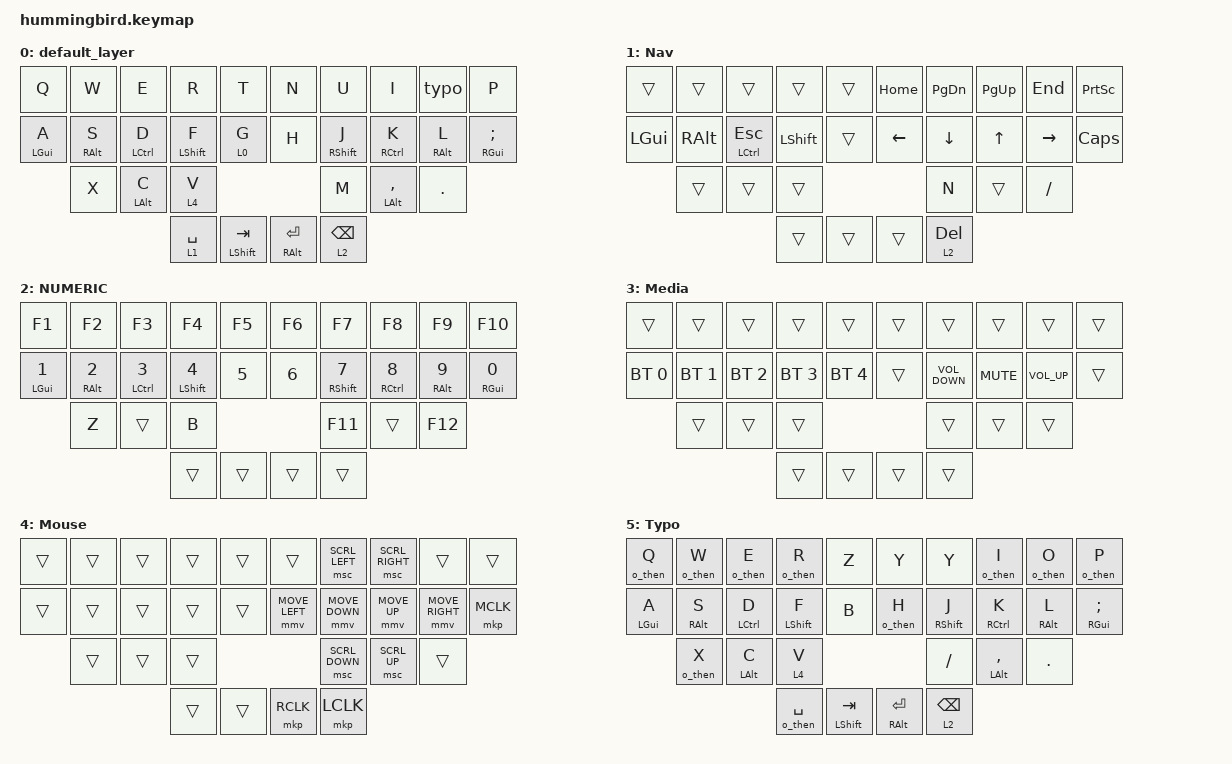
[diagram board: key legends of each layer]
/*
 * Copyright (c) 2022 The ZMK Contributors
 *
 * SPDX-License-Identifier: MIT
 */

#include <behaviors.dtsi>
#include <dt-bindings/zmk/bt.h>
#include <dt-bindings/zmk/keys.h>
#include <dt-bindings/zmk/pointing.h>

#define DEF_L 0
#define NAV_L 1
#define NUM_L 2
#define SYM_L 3
#define ZMK_POINTING_DEFAULT_MOVE_VAL 800  // default: 600

// Using layer taps on thumbs, having quick tap as well helps w/ repeating space/backspace

&sl { ignore-modifiers; };

/ {
    behaviors {
        hml: hml {
            compatible = "zmk,behavior-hold-tap";
            flavor = "balanced";
            tapping-term-ms = <280>;
            quick-tap-ms = <175>;
            #binding-cells = <2>;
            bindings = <&kp>, <&kp>;

            hold-trigger-key-positions = <5 6 7 8 9 19 18 17 16 15 23 24 25 29 28 27 26>;
            require-prior-idle-ms = <200>; // 150 before
            hold-trigger-on-release;
        };

        hmr: hmr {
            compatible = "zmk,behavior-hold-tap";
            flavor = "balanced";
            tapping-term-ms = <280>;
            quick-tap-ms = <175>;
            #binding-cells = <2>;
            bindings = <&kp>, <&kp>;

            hold-trigger-key-positions = <4 3 2 1 0 10 11 12 13 14 22 21 20 26 27 28 29>;
            require-prior-idle-ms = <200>; // 150 before
            hold-trigger-on-release;
        };

        hrl: hrl {
            compatible = "zmk,behavior-hold-tap";
            flavor = "balanced";
            tapping-term-ms = <280>;
            quick-tap-ms = <175>;
            #binding-cells = <2>;
            bindings = <&mo>, <&kp>;

            hold-trigger-key-positions = <5 6 7 8 9 19 18 17 16 15 23 24 25 29 28 27 26>;
            require-prior-idle-ms = <200>; // 150 before
            hold-trigger-on-release;
            label = "HRL";
        };

        f_hml: f_hml {
            compatible = "zmk,behavior-hold-tap";
            flavor = "balanced";
            tapping-term-ms = <200>;
            quick-tap-ms = <150>;
            #binding-cells = <2>;
            bindings = <&kp>, <&kp>;

            hold-trigger-key-positions = <5 6 7 8 9 19 18 17 16 15 23 24 25 29 28 27 26>;
            require-prior-idle-ms = <100>;
            hold-trigger-on-release;
            label = "F_HML";
        };

        f_hmr: f_hmr {
            compatible = "zmk,behavior-hold-tap";
            flavor = "balanced";
            tapping-term-ms = <200>;
            quick-tap-ms = <150>;
            #binding-cells = <2>;
            bindings = <&kp>, <&kp>;

            hold-trigger-key-positions = <4 3 2 1 0 10 11 12 13 14 22 21 20 26 27 28 29>;
            require-prior-idle-ms = <100>;
            hold-trigger-on-release;
            label = "F_HMR";
        };

        typo: typo {
            compatible = "zmk,behavior-mod-morph";
            #binding-cells = <0>;
            bindings = <&sl 5>, <&kp O>;

            mods = <(MOD_LSFT|MOD_RSFT)>;
            keep-mods = <(MOD_LSFT|MOD_RSFT)>;
        };

        no_shift_o: no_shift_o {
            compatible = "zmk,behavior-mod-morph";
            #binding-cells = <0>;
            bindings = <&kp O>, <&kp O>;

            mods = <(MOD_LSFT|MOD_RSFT)>;
            keep-mods = <0>;
        };

        // Typo layer: hold-tap variants (hold=mod, tap=o_letter — toujours minuscule, Shift sans effet)

        hml_ot: hml_ot {
            compatible = "zmk,behavior-hold-tap";
            flavor = "balanced";
            tapping-term-ms = <280>;
            quick-tap-ms = <175>;
            #binding-cells = <2>;
            bindings = <&kp>, <&o_then>;

            hold-trigger-key-positions = <5 6 7 8 9 19 18 17 16 15 23 24 25 29 28 27 26>;
            require-prior-idle-ms = <200>;
            hold-trigger-on-release;
        };

        f_hml_ot: f_hml_ot {
            compatible = "zmk,behavior-hold-tap";
            flavor = "balanced";
            tapping-term-ms = <200>;
            quick-tap-ms = <150>;
            #binding-cells = <2>;
            bindings = <&kp>, <&o_then>;

            hold-trigger-key-positions = <5 6 7 8 9 19 18 17 16 15 23 24 25 29 28 27 26>;
            require-prior-idle-ms = <100>;
            hold-trigger-on-release;
        };

        hmr_ot: hmr_ot {
            compatible = "zmk,behavior-hold-tap";
            flavor = "balanced";
            tapping-term-ms = <280>;
            quick-tap-ms = <175>;
            #binding-cells = <2>;
            bindings = <&kp>, <&o_then>;

            hold-trigger-key-positions = <4 3 2 1 0 10 11 12 13 14 22 21 20 26 27 28 29>;
            require-prior-idle-ms = <200>;
            hold-trigger-on-release;
        };

        f_hmr_ot: f_hmr_ot {
            compatible = "zmk,behavior-hold-tap";
            flavor = "balanced";
            tapping-term-ms = <200>;
            quick-tap-ms = <150>;
            #binding-cells = <2>;
            bindings = <&kp>, <&o_then>;

            hold-trigger-key-positions = <4 3 2 1 0 10 11 12 13 14 22 21 20 26 27 28 29>;
            require-prior-idle-ms = <100>;
            hold-trigger-on-release;
        };

        hrl_ot: hrl_ot {
            compatible = "zmk,behavior-hold-tap";
            flavor = "balanced";
            tapping-term-ms = <280>;
            quick-tap-ms = <175>;
            #binding-cells = <2>;
            bindings = <&mo>, <&o_then>;

            hold-trigger-key-positions = <5 6 7 8 9 19 18 17 16 15 23 24 25 29 28 27 26>;
            require-prior-idle-ms = <200>;
            hold-trigger-on-release;
        };
    };

    combos {
        compatible = "zmk,combos";

        cb_z {
            bindings = <&kp Z>;
            key-positions = <11 20>;
        };

        cb_b {
            bindings = <&kp B>;
            key-positions = <13 22>;
        };

        cb_dot {
            bindings = <&kp N>;
            key-positions = <16 23>;
        };

        cb_k {
            bindings = <&kp SLASH>;
            key-positions = <18 25>;
        };

        cz {
            bindings = <&kp Z>;
            key-positions = <20 21>;
        };

        cb {
            bindings = <&kp B>;
            key-positions = <22 21>;
        };

        cdot {
            bindings = <&kp N>;
            key-positions = <23 24>;
        };

        ck {
            bindings = <&kp SLASH>;
            key-positions = <25 24>;
        };

        studio_unlock {
            bindings = <&studio_unlock>;
            key-positions = <26 27 28 29>;
        };

        fast_esc {
            bindings = <&kp ESCAPE>;
            key-positions = <12 11>;
            require-prior-idle-ms = <200>; // 150 before
            timeout-ms = <15>;
        };

        fast_tab {
            bindings = <&kp TAB>;
            key-positions = <12 13>;
            require-prior-idle-ms = <200>; // 150 before
            timeout-ms = <15>;
        };

        fast_enter {
            bindings = <&kp ENTER>;
            key-positions = <18 17>;
            require-prior-idle-ms = <200>; // 150 before
            timeout-ms = <15>;
        };

        fast_backspace {
            bindings = <&kp BACKSPACE>;
            key-positions = <17 16>;
            require-prior-idle-ms = <200>; // 150 before
            timeout-ms = <15>;
        };

        ClrBlutooth {
            bindings = <&bt BT_CLR_ALL>;
            key-positions = <11 12 13>;
            layers = <3>;
        };

        OneshotShiftLeft {
            bindings = <&sk LEFT_SHIFT>;
            key-positions = <2 1>;
            timeout-ms = <15>;
            require-prior-idle-ms = <200>;
        };

        OneshotShiftRight {
            bindings = <&sk LEFT_SHIFT>;
            key-positions = <8 7>;
            timeout-ms = <15>;
            require-prior-idle-ms = <200>;
        };
    };

    macros {
        o_then: o_then {
            compatible = "zmk,behavior-macro-one-param";
            #binding-cells = <1>;
            bindings =
                <&macro_tap>,
                <&no_shift_o &macro_param_1to1>,
                <&macro_tap>,
                <&kp MACRO_PLACEHOLDER>;
        };
    };

    keymap {
        compatible = "zmk,keymap";

        default_layer {
            bindings = <
&kp Q        &kp W        &kp E         &kp R           &kp T                 &kp N           &kp U           &kp I            &typo        &kp P
&hml LGUI A  &hml RALT S  &hml LCTRL D  &f_hml LSHFT F  &hrl 0 G              &kp H           &f_hmr RSHFT J  &hmr RCTRL K     &hmr RALT L  &hmr RGUI SEMICOLON
             &kp X        &hml LALT C   &hrl 4 V                                              &kp M           &hmr LALT COMMA  &kp DOT
                                        &lt 1 SPACE     &mt LEFT_SHIFT TAB    &mt RALT ENTER  &lt 2 BSPC
            >;
        };

        nav_layer {
            display-name = "Nav";
            bindings = <
&trans        &trans         &trans             &trans          &trans    &kp HOME  &kp PAGE_DOWN  &kp PG_UP     &kp END    &kp PRINTSCREEN
&kp LEFT_GUI  &kp RIGHT_ALT  &hml LCTRL ESCAPE  &kp LEFT_SHIFT  &trans    &kp LEFT  &kp DOWN       &kp UP_ARROW  &kp RIGHT  &kp CAPS
              &trans         &trans             &trans                              &kp N          &trans        &kp SLASH
                                                &trans          &trans    &trans    &lt 2 DELETE
            >;
        };

        num_layer {
            display-name = "NUMERIC";
            bindings = <
&kp F1        &kp F2        &kp F3         &kp F4                &kp F5    &kp F6  &kp F7                 &kp F8         &kp F9             &kp F10
&hml LGUI N1  &hml RALT N2  &hml LCTRL N3  &f_hml LEFT_SHIFT N4  &kp N5    &kp N6  &f_hmr RIGHT_SHIFT N7  &hmr RCTRL N8  &hmr RIGHT_ALT N9  &hmr RIGHT_GUI N0
              &kp Z         &trans         &kp B                                   &kp F11                &trans         &kp F12
                                           &trans                &trans    &trans  &trans
            >;
        };

        Media {
            display-name = "Media";
            bindings = <
&trans        &trans        &trans        &trans        &trans          &trans  &trans             &trans      &trans           &trans
&bt BT_SEL 0  &bt BT_SEL 1  &bt BT_SEL 2  &bt BT_SEL 3  &bt BT_SEL 4    &trans  &kp C_VOLUME_DOWN  &kp C_MUTE  &kp C_VOLUME_UP  &trans
              &trans        &trans        &trans                                &trans             &trans      &trans
                                          &trans        &trans          &trans  &trans
            >;
        };

        Mouse {
            bindings = <
&trans  &trans  &trans  &trans  &trans    &trans          &msc SCRL_LEFT  &msc SCRL_RIGHT  &trans           &trans
&trans  &trans  &trans  &trans  &trans    &mmv MOVE_LEFT  &mmv MOVE_DOWN  &mmv MOVE_UP     &mmv MOVE_RIGHT  &mkp MCLK
        &trans  &trans  &trans                            &msc SCRL_DOWN  &msc SCRL_UP     &trans
                        &trans  &trans    &mkp RCLK       &mkp LCLK
            >;
        };

        Typo {
            bindings = <
&o_then Q       &o_then W       &o_then E        &o_then R          &kp Z                 &kp Y           &kp Y              &o_then I        &o_then O       &o_then P
&hml_ot LGUI A  &hml_ot RALT S  &hml_ot LCTRL D  &f_hml_ot LSHFT F  &kp B                 &o_then H       &f_hmr_ot RSHFT J  &hmr_ot RCTRL K  &hmr_ot RALT L  &hmr RGUI SEMICOLON
                &o_then X       &hml_ot LALT C   &hrl_ot 4 V                                              &kp SLASH          &hmr LALT COMMA  &kp DOT
                                                 &o_then SPACE      &mt LEFT_SHIFT TAB    &mt RALT ENTER  &lt 2 BSPC
            >;
        };
    };

    conditional_layers {
        compatible = "zmk,conditional-layers";

        MediaLayer {
            if-layers = <1 2>;
            then-layer = <3>;
        };
    };
};
